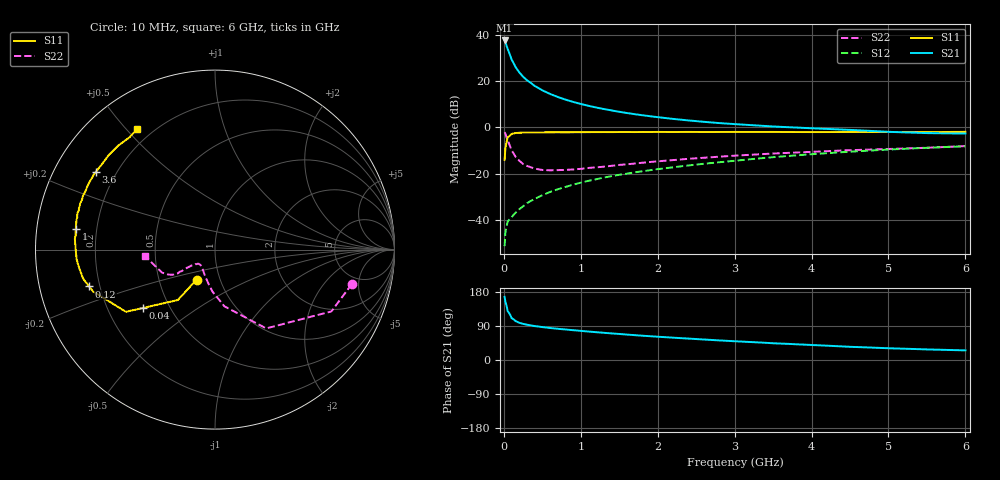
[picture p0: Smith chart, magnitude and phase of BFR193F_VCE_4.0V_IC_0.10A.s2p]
! Infineon Technologies  Discrete & RF Semiconductors
! BFR193F
! VCE =  4.0 V,  IC = 0.10 A
! Common Emitter S-Parameters:  Jan 2017
# GHz  S  MA  R  50
!  f  S11  S21  S12  S22
! GHz  MAG  ANG  MAG  ANG  MAG  ANG  MAG  ANG
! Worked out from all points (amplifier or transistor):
!   77 points, 10 MHz to 6 GHz, reference 50 ohm
!   highest |S21| = 37.5 dB at 10 MHz (marker M1)
!   |S21| within 3 dB of that: start of sweep to 42.37 MHz
!   unconditionally stable (mu >= 1): 384.4 MHz to 2.893 GHz
!   at 130 MHz: K = 0.72, MSG = 32.6 dB, |S12| = -37.7 dB
!   at 2.2 GHz: K = 1.05, MAG = 9.1 dB, |S12| = -17.3 dB
!   at 6 GHz: K = 0.90, MSG = 2.8 dB, |S12| = -8.2 dB
!   S11 on the Smith chart (normalised r, x): 10 MHz: 0.77, -0.27; 40 MHz: 0.36, -0.31; 120 MHz: 0.16, -0.14; 1 GHz: 0.12, +0.07; 3.6 GHz: 0.13, +0.29; 6 GHz: 0.14, +0.53
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0.01  0.1964 -121.5  75.34 166.6  0.0027 78.6  0.7867 -14.1
0.02  0.3492 -126.4  70.03 153.6  0.0053 68.8  0.734 -28.0
0.04  0.5153 -140.9  54.75 139.0  0.0078 56.7  0.5754 -45.1
0.05  0.6055 -145.1  49.05 128.6  0.0092 53.2  0.5236 -57.0
0.1  0.7179 -161.0  29.27 110.6  0.0114 51.0  0.3208 -80.5
0.12  0.7306 -163.7  25.64 108.2  0.0125 52.7  0.2847 -84.7
0.15  0.7525 -167.6  20.32 103.0  0.0141 54.8  0.2346 -93.4
0.2  0.7614 -171.5  15.44 98.3  0.0169 59.1  0.1903 -101.5
0.25  0.7688 -174.3  12.43 95.4  0.0196 62.9  0.1615 -109.1
0.3  0.7728 -176.1  10.43 93.1  0.0229 66.5  0.1469 -114.2
0.4  0.775 -178.9  7.845 89.5  0.0283 69.5  0.1281 -122.6
0.5  0.7773 178.9  6.302 86.9  0.034 72.0  0.1199 -128.3
0.6  0.7801 177.3  5.272 84.5  0.04 73.5  0.1176 -132.8
0.8  0.7801 174.1  3.97 80.6  0.0514 76.1  0.12 -138.6
1  0.784 171.5  3.198 76.9  0.0636 76.7  0.1266 -141.1
1.1  0.7861 170.2  2.915 75.1  0.0697 77.2  0.1324 -142.0
2.1  0.793 160.3  1.588 60.2  0.1307 76.8  0.19 -147.0
3.1  0.7939 151.5  1.146 48.5  0.1963 74.2  0.2492 -147.7
3.6  0.7928 147.1  1.024 43.3  0.2333 72.1  0.2759 -149.6
4.1  0.7897 142.2  0.938 38.7  0.269 69.2  0.2998 -152.8
5.1  0.7898 131.8  0.789 30.4  0.3366 62.5  0.3442 -164.2
6  0.7994 123.0  0.733 25.4  0.389 56.3  0.3932 -175.1
